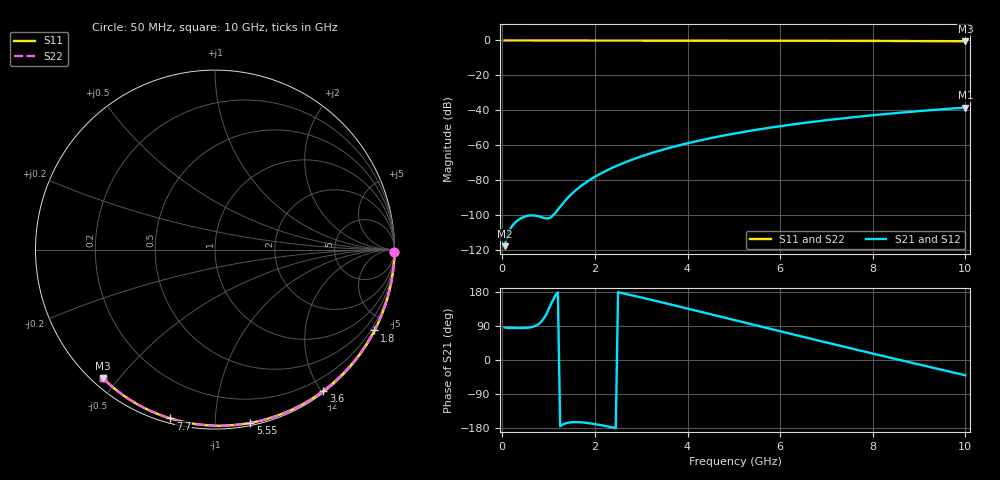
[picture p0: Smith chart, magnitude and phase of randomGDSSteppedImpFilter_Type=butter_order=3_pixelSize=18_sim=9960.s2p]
! freq	dB(S11)	phase(S11)	dB(S12)	phase(S12)
!  dB(S21)	phase(S21)	dB(S22)	phase(S22)
!S-par simulation data
#  GHz  S  DB  R 50
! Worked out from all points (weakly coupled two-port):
!   200 points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, 50 MHz to 10 GHz, reference 50 ohm
!   highest |S21| = -38.45 dB at 10 GHz (marker M1); lowest = -117.9 dB at 50 MHz (marker M2)
!   lowest |S11| = -0.4 dB at 10 GHz (marker M3), VSWR 39.17, Z = 1.54 - j22.7 ohm
!   |S11| at or under -10 dB: nowhere
!   |S22| runs from -0.4 to 0.0 dB; largest |S21 - S12| = 0
!   S11 on the Smith chart (normalised r, x): 50 MHz: open; 1.8 GHz: 0.04, -4.19; 3.6 GHz: 0.02, -2.03; 5.55 GHz: 0.02, -1.22; 7.7 GHz: 0.02, -0.77; 10 GHz: 0.03, -0.45
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0.05  -0.00 -0.8  -117.85 85.9  -117.85 85.9  -0.00 -0.8
0.9  -0.02 -13.6  -101.72 110.7  -101.72 110.7  -0.02 -13.6
1.75  -0.03 -26.1  -82.41 -164.9  -82.41 -164.9  -0.03 -26.1
1.8  -0.03 -26.9  -81.47 -165.6  -81.47 -165.6  -0.03 -26.9
1.85  -0.04 -27.6  -80.58 -166.4  -80.58 -166.4  -0.04 -27.6
1.9  -0.04 -28.3  -79.72 -167.2  -79.72 -167.2  -0.04 -28.3
2.05  -0.04 -30.5  -77.34 -170.2  -77.34 -170.2  -0.04 -30.5
2.25  -0.04 -33.4  -74.53 -174.8  -74.53 -174.8  -0.04 -33.4
2.45  -0.05 -36.3  -72.05 -179.8  -72.05 -179.8  -0.05 -36.3
2.65  -0.05 -39.2  -69.83 174.8  -69.83 174.8  -0.05 -39.2
3  -0.06 -44.2  -66.42 165.0  -66.42 165.0  -0.06 -44.2
3.4  -0.07 -49.8  -63.08 153.4  -63.08 153.4  -0.07 -49.8
3.6  -0.07 -52.5  -61.59 147.5  -61.59 147.5  -0.07 -52.5
4.3  -0.09 -62.1  -57.08 126.7  -57.08 126.7  -0.09 -62.1
5.05  -0.11 -72.0  -53.15 104.2  -53.15 104.2  -0.11 -72.0
5.55  -0.13 -78.5  -50.92 89.2  -50.92 89.2  -0.13 -78.5
6.1  -0.15 -85.4  -48.74 72.8  -48.74 72.8  -0.15 -85.4
6.7  -0.18 -92.8  -46.64 55.0  -46.64 55.0  -0.18 -92.8
7.7  -0.24 -104.8  -43.64 25.7  -43.64 25.7  -0.24 -104.8
8.35  -0.29 -112.4  -41.97 6.8  -41.97 6.8  -0.29 -112.4
9.15  -0.36 -121.5  -40.15 -16.1  -40.15 -16.1  -0.36 -121.5
10  -0.44 -131.1  -38.45 -40.4  -38.45 -40.4  -0.44 -131.1
